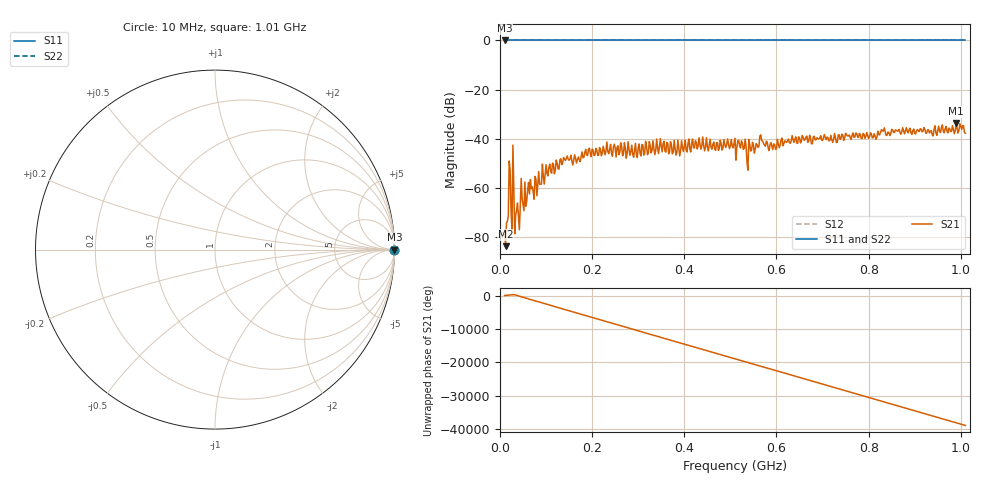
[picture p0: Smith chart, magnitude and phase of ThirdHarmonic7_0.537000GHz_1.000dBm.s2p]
! 8/17/2025 4:04:34 PM
! C:\ANRITSUVNA\TEMP\TEMP.S2P
! CHANNEL.1
! TR.MEASUREMENT
! RAW.DATA
! RF.CORRECTION.OFF
! AVERAGING.OFF
! IF.BANDWIDTH: 5KHZ
! SWEEPTYPE:  FREQ.SWEEP(Linear)
! Reference Plane Port Info
! PORT:  PORT1  PORT2
! DISTANCE:  0  m  0  m
! TIME:  0  s  0  s
! PHASE.OFFSET:  0  deg.  0  deg.
! LOSS:  0  dB  0  dB
! REF.LOSS:  0  dB  0  dB
! REF.FREQ:  0  Hz  0  Hz
! Power Info
! POWER:  -20  dBm  -20  dBm
! EFF.POWER:  -20  dBm  -20  dBm
! SOURCE.ATTEN:  0  dB  0  dB
! TEST.ATTEN:  0  dB  0  dB
# GHZ S RI R 50.0
! FREQ.GHZ  S11RE  S11IM  S21RE  S21IM  S12RE  S12IM  S22RE  S22IM
!; PortSelection: Port_12
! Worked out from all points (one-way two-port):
!   501 points, 10 MHz to 1.01 GHz, reference 50 ohm
!   highest |S21| = -33.71 dB at 990 MHz (marker M1); lowest = -83.7 dB at 12 MHz (marker M2)
!   lowest |S11| = 0.0 dB at 10 MHz (marker M3)
!   |S11| at or under -10 dB: nowhere
!   |S22| runs from 0.0 to 0.0 dB; largest |S21 - S12| = 1
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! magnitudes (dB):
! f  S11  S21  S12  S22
! 10 MHz  0.0  -77.3  0.0  0.0
! 12 MHz  0.0  -83.7  0.0  0.0
! 18 MHz  0.0  -71.6  0.0  0.0
! 22 MHz  0.0  -52.8  0.0  0.0
! 24 MHz  0.0  -69.4  0.0  0.0
! 28 MHz  0.0  -42.6  0.0  0.0
! 32 MHz  0.0  -78.6  0.0  0.0
! 36 MHz  0.0  -69.2  0.0  0.0
! 50 MHz  0.0  -66.7  0.0  0.0
! 54 MHz  0.0  -57.6  0.0  0.0
! 64 MHz  0.0  -62.5  0.0  0.0
! 104 MHz  0.0  -55.1  0.0  0.0
! 178 MHz  0.0  -45.3  0.0  0.0
! 344 MHz  0.0  -46.0  0.0  0.0
! 510 MHz  0.0  -39.8  0.0  0.0
! 540 MHz  0.0  -40.3  0.0  0.0
! 568 MHz  0.0  -40.8  0.0  0.0
! 596 MHz  0.0  -42.4  0.0  0.0
! 678 MHz  0.0  -42.0  0.0  0.0
! 844 MHz  0.0  -37.5  0.0  0.0
! 990 MHz  0.0  -33.7  0.0  0.0
! 1.01 GHz  0.0  -37.8  0.0  0.0
